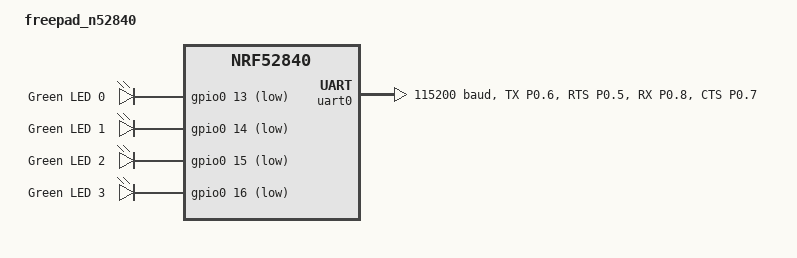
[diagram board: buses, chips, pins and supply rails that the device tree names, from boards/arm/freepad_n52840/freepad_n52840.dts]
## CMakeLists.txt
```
cmake_minimum_required(VERSION 3.20.0)
find_package(Zephyr REQUIRED HINTS $ENV{ZEPHYR_BASE})

project(freepad)
include(${ZEPHYR_BASE}/samples/subsys/usb/common/common.cmake)


include_directories(${CMAKE_SOURCE_DIR}/src)
include_directories(${CMAKE_SOURCE_DIR}/common)
include_directories(${CMAKE_SOURCE_DIR}/common/clib/inc)
include_directories(${CMAKE_SOURCE_DIR}/common/mmlib/inc)

FILE(GLOB app_sources src/*.c)
FILE(GLOB clib_sources common/clib/src/*.c)

set(mmlib_sources common/mmlib/src/sgp_protocol.c common/mmlib/src/systime.c common/mmlib/src/crc.c)

set(SOURCES
	${app_sources}
	${clib_sources}
	${mmlib_sources}
)

target_sources(app PRIVATE ${SOURCES})
```

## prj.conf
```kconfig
CONFIG_CONSOLE_SUBSYS=y
CONFIG_CONSOLE_GETCHAR=y
CONFIG_CONSOLE_GETCHAR_BUFSIZE=64
CONFIG_CONSOLE_PUTCHAR_BUFSIZE=512

CONFIG_USB_DEVICE_STACK=y
CONFIG_USB_DEVICE_PRODUCT="Freepad DFU"
CONFIG_USB_DEVICE_PID=0x0001
CONFIG_LOG=y
CONFIG_USB_DRIVER_LOG_LEVEL_ERR=y
CONFIG_USB_DEVICE_LOG_LEVEL_ERR=y
CONFIG_SERIAL=y
CONFIG_UART_INTERRUPT_DRIVEN=y
CONFIG_UART_LINE_CTRL=y
CONFIG_USB_DEVICE_INITIALIZE_AT_BOOT=n

CONFIG_THREAD_NAME=y
CONFIG_THREAD_MAX_NAME_LEN=20

CONFIG_GPIO=y

CONFIG_USE_DT_CODE_PARTITION=y

CONFIG_FLASH=y
CONFIG_MPU_ALLOW_FLASH_WRITE=y
CONFIG_SOC_FLASH_NRF_EMULATE_ONE_BYTE_WRITE_ACCESS=y

CONFIG_NRF_SECURITY=y
CONFIG_MBEDTLS_PSA_CRYPTO_C=y
CONFIG_MBEDTLS_ENABLE_HEAP=y
CONFIG_MBEDTLS_HEAP_SIZE=40960

CONFIG_PSA_WANT_ALG_ECDSA=y
CONFIG_PSA_WANT_ECC_SECP_K1_256=y
CONFIG_PSA_WANT_ALG_SHA_256=y
CONFIG_PSA_WANT_KEY_TYPE_ECC_KEY_PAIR_IMPORT=y

CONFIG_PSA_CRYPTO_DRIVER_OBERON=n
CONFIG_PSA_CRYPTO_DRIVER_CC3XX=y

CONFIG_DEBUG_OPTIMIZATIONS=y
```

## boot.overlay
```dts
// To get started, press Ctrl+Space to bring up the completion menu and view the available nodes.

// You can also use the buttons in the sidebar to perform actions on nodes.
// Actions currently available include:

// * Enabling / disabling the node
// * Adding the bus to a bus
// * Removing the node
// * Connecting ADC channels

// For more help, browse the DeviceTree documentation at https: //docs.zephyrproject.org/latest/guides/dts/index.html
// You can also visit the nRF DeviceTree extension documentation at https: //docs.nordicsemi.com/bundle/nrf-connect-vscode/page/guides/ncs_configure_app.html#devicetree-support-in-the-extension


&usbd {
    status = "okay";
    cdc_acm_uart0 {
        compatible = "zephyr,cdc-acm-uart";
    };
};

/{
    chosen{
        zephyr,code-partition = &boot_partition;
    };
};
```

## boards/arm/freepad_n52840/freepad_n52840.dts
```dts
// Copyright (c) 2024 Nordic Semiconductor ASA
// SPDX-License-Identifier: Apache-2.0

/dts-v1/;
#include <nordic/nrf52840_qiaa.dtsi>

/ {
	model = "freepad_n52840";
	compatible = "lyj,freepad-n52840";

	chosen {
		zephyr,console = &uart0;
		zephyr,sram = &sram0;
		zephyr,flash = &flash0;
	};

	leds {
		compatible = "gpio-leds";
		led0: led_0 {
			gpios = <&gpio0 13 GPIO_ACTIVE_LOW>;
			label = "Green LED 0";
		};
		led1: led_1 {
			gpios = <&gpio0 14 GPIO_ACTIVE_LOW>;
			label = "Green LED 1";
		};
		led2: led_2 {
			gpios = <&gpio0 15 GPIO_ACTIVE_LOW>;
			label = "Green LED 2";
		};
		led3: led_3 {
			gpios = <&gpio0 16 GPIO_ACTIVE_LOW>;
			label = "Green LED 3";
		};
	};


	aliases {
		led0 = &led0;
	};
};


&flash0 {
	partitions {
		compatible = "fixed-partitions";
		#address-cells = <1>;
		#size-cells = <1>;

		boot_partition: partition@0 {
			label = "lboot";
			reg = <0x0 0x28000>;
		};
		app_partition: partition@28000 {
			label = "image-0";
			reg = <0x28000 0x4b000>;
		};
		storage_partition: partition@73000 {
			label = "storage";
			reg = <0x73000 0xD000>;
		};
	};
};

&gpio0 {
	status = "okay";
};

&gpiote {
	status = "okay";
};


&pinctrl {
	uart0_default: uart0_default {
		group1 {
			psels = <NRF_PSEL(UART_TX, 0, 6)>,
				<NRF_PSEL(UART_RTS, 0, 5)>;
		};
		group2 {
			psels = <NRF_PSEL(UART_RX, 0, 8)>,
				<NRF_PSEL(UART_CTS, 0, 7)>;
			bias-pull-up;
		};
	};

	uart0_sleep: uart0_sleep {
		group1 {
			psels = <NRF_PSEL(UART_TX, 0, 6)>,
				<NRF_PSEL(UART_RX, 0, 8)>,
				<NRF_PSEL(UART_RTS, 0, 5)>,
				<NRF_PSEL(UART_CTS, 0, 7)>;
			low-power-enable;
		};
	};
};

&uart0 {
	compatible = "nordic,nrf-uarte";
	status = "okay";
	current-speed = <115200>;
	pinctrl-0 = <&uart0_default>;
	pinctrl-1 = <&uart0_sleep>;
	pinctrl-names = "default", "sleep";
};
```

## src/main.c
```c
#include <zephyr/kernel.h>
#include <zephyr/drivers/gpio.h>

#include "usb_agent.h"

#include "flash_layout.h"
void JumpToApp(void)
{
	uint32_t address = APP_START_ADDR;

#if CONFIG_ARCH_HAS_USERSPACE
	__ASSERT(!(CONTROL_nPRIV_Msk & __get_CONTROL()),
			 "Not in Privileged mode"); // 跳转前需要在特权模式,CONFIG_USERSPACE=y使得线程在非特权模式(用户态)下跑
#endif

	// uninit_used_peripherals();

	__ISB();
	__disable_irq();
	NVIC_Type *nvic = NVIC;
	/* Disable NVIC interrupts */
	for (uint8_t i = 0; i < ARRAY_SIZE(nvic->ICER); i++)
	{
		nvic->ICER[i] = 0xFFFFFFFF;
	}
	/* Clear pending NVIC interrupts */
	for (uint8_t i = 0; i < ARRAY_SIZE(nvic->ICPR); i++)
	{
		nvic->ICPR[i] = 0xFFFFFFFF;
	}

	SysTick->CTRL = 0;

	/* Disable fault handlers used by the bootloader */
	SCB->ICSR |= SCB_ICSR_PENDSTCLR_Msk;

	/* Activate the MSP if the core is currently running with the PSP */
	if (CONTROL_SPSEL_Msk & __get_CONTROL())
	{
		__set_CONTROL(__get_CONTROL() & ~CONTROL_SPSEL_Msk);
	}

	__DSB(); /* Force Memory Write before continuing */
	__ISB(); /* Flush and refill pipeline with updated permissions */

	SCB->VTOR = address;
	uint32_t *vector_table = (uint32_t *)address;

#if defined(CONFIG_BUILTIN_STACK_GUARD) && \
	defined(CONFIG_CPU_CORTEX_M_HAS_SPLIM)
	/* Reset limit registers to avoid inflicting stack overflow on image
	 * being booted.
	 * CONFIG_BUILTIN_STACK_GUARD 线程和中断栈溢出检测
	 * CONFIG_CPU_CORTEX_M_HAS_SPLIM ARMv8-M之类的型号有SP限制寄存器,用来检测栈溢出,nrf52840为Cortex-M4,Armv7-M,不需要考虑
	 */
	__set_PSPLIM(0);
	__set_MSPLIM(0);
#endif

	/* Set MSP to the new address and clear any information from PSP */
	__set_MSP(vector_table[0]);
	__set_PSP(0);

	/* Call reset handler. */
	((void (*)(void))vector_table[1])();
	CODE_UNREACHABLE;
}

#include "hal/nrf_gpio.h"

#include "dfu_nrf52.h"
int DfuCheck(void)
{
	// todo 按键电平
	nrf_gpio_cfg_input(NRF_GPIO_PIN_MAP(0, 11), NRF_GPIO_PIN_PULLUP);

	// 这里需要延时判断,gpio寄生电容导致电压上升慢
	volatile bool dfu = true;
	for (int i = 0; i < 200; i++)
	{
		if (nrf_gpio_pin_read(NRF_GPIO_PIN_MAP(0, 11)) == 1)
		{
			dfu = false;
			break;
		}
	}

	// if (!dfu)
	if (!dfu && IsAppValid())
	{
		JumpToApp();
	}

	return 0;
}

#include "comm.h"
#include "cl_event_system.h"
#include "dfu.h"

void Thread_Dfu(void)
{
	CL_EventSysInit();

	Comm_Init();
	Dfu_Init();
	while (true)
	{
		Comm_Process();
		Dfu_Process();
	}
}

#include <zephyr/console/console.h>
#define LED0_NODE DT_ALIAS(led0)
static const struct gpio_dt_spec led = GPIO_DT_SPEC_GET(LED0_NODE, gpios);
void Thread_Blink(void)
{
	int ret;

	if (!gpio_is_ready_dt(&led))
	{
		return;
	}

	ret = gpio_pin_configure_dt(&led, GPIO_OUTPUT_ACTIVE);
	if (ret < 0)
	{
		return;
	}

	while (1)
	{
		ret = gpio_pin_toggle_dt(&led);
		if (ret < 0)
		{
			return;
		}

		k_msleep(2000);
		printk("blink");
	}
	return;
}

#define STACKSIZE 1024
K_THREAD_DEFINE(blink_id, STACKSIZE, Thread_Blink, NULL, NULL, NULL,
				1, 0, 0);

K_THREAD_DEFINE(dfu_id, 40960, Thread_Dfu, NULL, NULL, NULL,
				2, 0, 0);

SYS_INIT(DfuCheck, EARLY, 1);
```

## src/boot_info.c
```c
#include "firmware_info.h"

#define MAJOR_VER_NUMBER (0)
#define MINOR_VER_NUMBER (0)
#define PATCH_VER_NUMBER (1)

const FirmwareInfo_t bootFwInfo = {
    .verMajor = MAJOR_VER_NUMBER,
    .verMinor = MINOR_VER_NUMBER,
    .verPatch = PATCH_VER_NUMBER,

    .check = FIRMWARE_CHECK_VALUE(MAJOR_VER_NUMBER, MINOR_VER_NUMBER, PATCH_VER_NUMBER, MINOR_VER_NUMBER, PATCH_VER_NUMBER),
};

// const int testData __attribute__((at(APP_START_ADDR + 38*1024))) = 0x12345;
```

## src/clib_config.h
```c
#pragma once

#include "cl_common.h"
#include "stdio.h"

#ifdef __cplusplus
extern "C"
{
#endif

    //-------------event type------------------
    typedef enum
    {
        CL_Event_SgpRecvMsg = 0,
        CL_EventMax,
    } CL_Event_t;

//---------------log-------------------------
#include "stdio.h"
#define CL_PRINTF printf

// #define CL_LOG_LEVEL_INFO
// #define CL_LOG_LEVEL_WARN
// #define CL_LOG_LEVEL_ERROR


#ifdef __cplusplus
}
#endif
```

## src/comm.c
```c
#include "comm.h"
#include "cl_event_system.h"
#include "usb_agent.h"
#include "sgp_protocol.h"

CL_Result_t SgpAcmSendFunc(const uint8_t *buff, uint16_t count)
{
    if (SendData(buff, count) == count)
        return CL_ResSuccess;

    return CL_ResFailed;
}

void Comm_Init(void)
{
    SgpProtocol_AddChannel(SpgChannelHandle_Acm, SgpAcmSendFunc);
}

void Comm_Process(void)
{
    uint8_t buff[64];
    uint32_t recvLen = RecvData(buff, sizeof(buff));
    if (recvLen)
    {
        SgpProtocol_RecvData(SpgChannelHandle_Acm, buff, recvLen);
    }
}
```

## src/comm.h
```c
#pragma once

#include "cl_common.h"
#include "sgp_protocol.h"
#include "sgp_cmd.h"

void Comm_Init(void);
void Comm_Process(void);

static inline CL_Result_t Comm_SendMsg(SpgCmd_t cmd, SgpSubCmd_t subCmd, const uint8_t *data, uint8_t length)
{
    return SgpProtocol_SendMsg(SpgChannelHandle_Acm, (uint8_t)cmd, (uint8_t)subCmd, data, length);
}
```

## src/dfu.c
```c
#include "dfu.h"
#include "dfu_nrf52.h"
#include "flash_layout.h"
#include "cl_log.h"
#include "systime.h"
#include "cl_event_system.h"
#include "sgp_protocol.h"
#include "sgp_cmd.h"
#include "comm.h"
#include "firmware_info.h"
#include "cl_serialize.h"
#include "crc.h"
#include "string.h"
#include "sign_check.h"

static inline void ToggleLed(void)
{ //todo led style

}

extern const FirmwareInfo_t bootFwInfo;

typedef enum
{
    DfuStatus_Idle = 0,
    DfuStatus_WaitReq,
    DfuStatus_RecvFile,
    DfuStatus_CheckApp,
    DfuStatus_Jump,
    DfuStatus_Error,
} DfuStatus_t;

typedef struct
{
    DfuStatus_t status;
    uint32_t fileSize;
    uint32_t recvSize;
    uint32_t lastCommTime;
    uint16_t packCount;
} DfuContext_t;

static DfuContext_t dfuContext = {
    .status = DfuStatus_Idle,
    .fileSize = 0,
    .recvSize = 0,
    .packCount = 0,
    .lastCommTime = 0,
};

static bool OnRecvSgpMsg(void *eventArg);

static inline void SetLastCommTime(void)
{
    dfuContext.lastCommTime = GetSysTime();
}

static inline bool IsCommTimeout(void)
{
    return SysTimeSpan(dfuContext.lastCommTime) >= SYSTIME_SECOND(10);
}

static void ToIdle(void)
{
    dfuContext.status = DfuStatus_Idle;
}

static void ToWaitReq(void)
{
    dfuContext.status = DfuStatus_WaitReq;
}

static void ToRecvFile(uint32_t fileSize)
{
    dfuContext.fileSize = fileSize;
    dfuContext.recvSize = 0;
    dfuContext.packCount = 0;
    dfuContext.status = DfuStatus_RecvFile;
}

static void ToCheckApp(void)
{
    dfuContext.status = DfuStatus_CheckApp;
}

static void ToJump(void)
{
    dfuContext.status = DfuStatus_Jump;
    // HAL_FLASH_Lock(); //todo lock?
}

static void ToError(void)
{
    Comm_SendMsg(SpgCmd_Dfu, SgpSubCmd_DfuError, NULL, 0);
    dfuContext.status = DfuStatus_Error;
}

void Dfu_Init(void)
{
    CL_EventSysAddListener(OnRecvSgpMsg, CL_Event_SgpRecvMsg, 0);
    ToIdle();
}

void Dfu_Process(void)
{
    switch (dfuContext.status)
    {
    case DfuStatus_Idle:
        if (NeedDfu())
        {
            CL_LOG_INFO("need dfu, to wait dfu request");
            ToWaitReq();
        }
        else
        {
            CL_LOG_INFO("don't need dfu, to check app");
            ToCheckApp();
        }
        break;
    case DfuStatus_WaitReq:
    {
        static uint32_t lastTime = 0;
        if (SysTimeSpan(lastTime) >= 1000)
        {
            lastTime = GetSysTime();

            ToggleLed();
        }
    }
    break;
    case DfuStatus_RecvFile:
        if (IsCommTimeout())
        {
            Comm_SendMsg(SpgCmd_Dfu, SgpSubCmd_DfuError, NULL, 0);
            ToCheckApp();
        }
        break;
    case DfuStatus_CheckApp:
        if (IsAppValid())
        {
            CL_LOG_INFO("app valid, prepare to jump");
            ToJump();
        }
        else
        {
            CL_LOG_INFO("no valid app, need dfu");
            ToWaitReq();
        }
        break;
    case DfuStatus_Jump:
        UnmarkDfu();
        DelayOnSysTime(100);
        NVIC_SystemReset();
        break;
    case DfuStatus_Error:
        ToCheckApp();
        break;
    default:
        break;
    }
}

static void SendDfuReady(void)
{
    Comm_SendMsg(SpgCmd_Dfu, SgpSubCmd_DfuReady, NULL, 0);
}

static void SendDfuDataRsp(uint16_t packCount, uint8_t result)
{
    uint8_t data[3];
    CL_Uint16ToBytes(packCount, data, CL_BigEndian);
    data[2] = result;
    Comm_SendMsg(SpgCmd_Dfu, SgpSubCmd_DfuDataRsp, data, 3);
}

static void SendDfuVerifyRsp(uint8_t result)
{
    Comm_SendMsg(SpgCmd_Dfu, SgpSubCmd_DfuVerifyRsp, &result, 1);
}

static void OnRecvBootVerReq(void)
{
    uint8_t data[14];
    memcpy(data, PRODUCT_BOOT_STR, 10);
    data[10] = bootFwInfo.verMajor;
    data[11] = bootFwInfo.verMinor;
    CL_Uint16ToBytes(bootFwInfo.verPatch, data + 12, CL_BigEndian);

    Comm_SendMsg(SpgCmd_Dfu, SgpSubCmd_DfuBootVerRsp, data, sizeof(data));

    CL_LOG_INFO("send boot version");
}

static void OnRecvAppVerReq(void)
{
    //todo
    // const FirmwareInfo_t *pAppInfo = (const FirmwareInfo_t *)0x8013800;
    // uint8_t data[14];
    // memcpy(data, PRODUCT_APP_STR, 10);
    // data[10] = pAppInfo->verMajor;
    // data[11] = pAppInfo->verMinor;
    // CL_Uint16ToBytes(pAppInfo->verPatch, data + 12, CL_BigEndian);

    // Comm_SendMsg(SpgCmd_Dfu, SgpSubCmd_AppVerRsp, data, sizeof(data));

    // CL_LOG_INFO("send app version");
}

void OnRecvDfuRequest(const SgpPacket_t *pack)
{
    if (dfuContext.status == DfuStatus_WaitReq)
    {
        if (pack->length != 4)
        {
            CL_LOG_INFO("dfu req pack len error");
            return;
        }
        uint32_t fileSize = CL_BytesToUint32(pack->data, CL_BigEndian);
        if (fileSize > APP_MAX_SIZE || fileSize == 0)
        {
            CL_LOG_INFO("dfu file length error");
            return;
        }
        // HAL_FLASH_Unlock(); //todo lock?
        EraseAppSection();
        ToRecvFile(fileSize);
        SendDfuReady();
        SetLastCommTime();
    }
    else if (dfuContext.status == DfuStatus_RecvFile && dfuContext.recvSize == 0)
    {
        SendDfuReady();
        SetLastCommTime();
    }
}

static void OnRecvDfuData(const SgpPacket_t *pack)
{
    if (dfuContext.status == DfuStatus_RecvFile)
    {
        if (pack->length < 2)
            return;

        uint16_t packCount = CL_BytesToUint16(pack->data, CL_BigEndian);
        if (packCount == dfuContext.packCount)
        {
            dfuContext.packCount++;
            uint16_t bytesInPack = pack->length - 2;
            if (dfuContext.recvSize + bytesInPack > dfuContext.fileSize)
            {
                ToError();
                return;
            }

            ToggleLed();
            CL_Result_t res = WriteFlash(APP_START_ADDR + dfuContext.recvSize, pack->data + 2, bytesInPack);
            dfuContext.recvSize += bytesInPack;
            CL_LOG_INFO("dfu pack: %hu--%hu, recv size: %u", packCount, bytesInPack, dfuContext.recvSize);
            SendDfuDataRsp(packCount, res == CL_ResSuccess ? 1 : 0);
            SetLastCommTime();
        }
        else if (dfuContext.packCount == (packCount + 1) && dfuContext.packCount > 0)
        {
            CL_LOG_INFO("rsp last pack");
            SendDfuDataRsp(packCount, 1);
            SetLastCommTime();
        }
    }
}

CL_Result_t VerifyApp(const SgpPacket_t *pack)
{
    if (dfuContext.fileSize != dfuContext.recvSize)
        return CL_ResFailed;

    if (pack->length != 64)
        return CL_ResFailed;

    return SignCheck((const uint8_t *)APP_START_ADDR, dfuContext.recvSize, (const uint8_t *)pack->data, pack->length);
}

static void OnRecvDfuVerify(const SgpPacket_t *pack)
{
    if (dfuContext.status == DfuStatus_RecvFile)
    {
        if (dfuContext.fileSize != dfuContext.recvSize)
        {
            ToError();
            return;
        }

        CL_Result_t res = VerifyApp(pack);
        uint8_t rsp = 1;
        if (res == CL_ResSuccess)
        {
            SaveAppInfo(APP_START_ADDR, dfuContext.fileSize);
            CL_LOG_INFO("dfu verity ok");
        }
        else
        {
            rsp = 0;
            CL_LOG_INFO("dfu verity failed");
        }
        SendDfuVerifyRsp(rsp);
        ToCheckApp();
    }
}

static bool OnRecvSgpMsg(void *eventArg)
{
    const SgpPacket_t *pack = (const SgpPacket_t *)eventArg;
    if (pack->cmd == SpgCmd_Dfu)
    {
        switch (pack->subCmd)
        {
        case SgpSubCmd_DfuReq:
            OnRecvDfuRequest(pack);
            break;
        case SgpSubCmd_DfuData:
            OnRecvDfuData(pack);
            break;
        case SgpSubCmd_DfuVerify:
            OnRecvDfuVerify(pack);
            break;
        case SgpSubCmd_DfuBootVer:
            OnRecvBootVerReq();
            break;
        case SgpSubCmd_AppVer:
            OnRecvAppVerReq();
            break;
        }
    }

    return true;
}

void Dfu_SendTest(const char *format, ...)
{
    static char buff[128];
    va_list args;
    va_start(args, format);
    int len = vsprintf(buff, format, args);
    Comm_SendMsg((uint8_t)SpgCmd_Dfu, (uint8_t)SgpSubCmd_DfuTest, (const uint8_t*)buff, len);
}
```

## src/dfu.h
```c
#pragma once

#include "cl_common.h"

void JumpToApp(void);

void Dfu_Init(void);
void Dfu_Process(void);

void Dfu_SendTest(const char *format, ...);
```

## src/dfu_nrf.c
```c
#include <zephyr/kernel.h>
#include <zephyr/drivers/flash.h>
#include <zephyr/storage/flash_map.h>
#include "dfu_nrf.h"

#define FLASH_PAGE_SIZE   4096 //todo 从设备树获取

const struct device *flash_dev = FIXED_PARTITION_DEVICE(storage_partition);

// int NrfFlashErase(uint32_t addr, uint32_t size)
// {

// }

// int NrfFlashWrite(uint32_t addr, const uint8_t* data, uint16_t len)
// {

// }

int NrfFlashRead(uint32_t addr, uint8_t* buff, uint16_t len)
{
    return flash_read(flash_dev, addr, buff, len);
}
```

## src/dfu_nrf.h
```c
#pragma once

#include "stdint.h"

int NrfFlashRead(uint32_t addr, uint8_t* buff, uint16_t len);
```

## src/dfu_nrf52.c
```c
#include "dfu_nrf52.h"
#include <zephyr/kernel.h>
#include <zephyr/drivers/flash.h>
#include <zephyr/storage/flash_map.h>
#include "flash_layout.h"
#include "crc.h"
#include "cl_log.h"

const struct device *flash_dev = FIXED_PARTITION_DEVICE(storage_partition);

//********************************flash操作******************************************
typedef struct
{
    uint32_t size;
    uint32_t hash;
} AppInfo_t;

CL_Result_t EraseAppSection(void)
{
    return EraseFlash(APP_START_ADDR, APP_MAX_SIZE / FLASH_PAGE_SIZE);
}

CL_Result_t SaveAppInfo(uint32_t addr, uint32_t size)
{
    AppInfo_t info;
    info.size = size;
    info.hash = Ethernet_CRC32((const uint8_t *)addr, size);
    EraseFlash(DFU_APP_INFO_ADDR, 1);
    WriteFlash(DFU_APP_INFO_ADDR, (const uint8_t *)&info, sizeof(info));

    return CL_ResSuccess;
}

bool IsAppValid(void)
{
    const AppInfo_t *pInfo = (const AppInfo_t *)DFU_APP_INFO_ADDR;

    if (pInfo->size > APP_MAX_SIZE)
        return false;

    uint32_t hash = Ethernet_CRC32((const uint8_t *)APP_START_ADDR, pInfo->size);

    CL_LOG_INFO("check app, size: %u, calc %x, save: %x", pInfo->size, hash, pInfo->hash);
    return hash == pInfo->hash;
}

CL_Result_t EraseFlash(uint32_t addr, uint32_t pages)
{
    return flash_erase(flash_dev, addr, pages * FLASH_PAGE_SIZE) == 0;
}

CL_Result_t WriteFlash(uint32_t addr, const uint8_t *buff, uint32_t length)
{
    return flash_write(flash_dev, addr, buff, length) != 0;
}

bool NeedDfu(void)
{
    return true;
}

CL_Result_t UnmarkDfu(void)
{
    return CL_ResSuccess;
}
```

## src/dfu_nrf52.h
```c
#pragma once

#include "cl_common.h"
//*********************************
bool NeedDfu(void);
CL_Result_t UnmarkDfu(void);
CL_Result_t EraseAppSection(void);
CL_Result_t SaveAppInfo(uint32_t addr, uint32_t size);
CL_Result_t EraseFlash(uint32_t addr, uint32_t pages);
CL_Result_t WriteFlash(uint32_t addr, const uint8_t *buff, uint32_t length);
bool IsAppValid(void);
```

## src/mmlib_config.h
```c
#pragma once

#include "cl_common.h"

typedef enum
{
    SpgChannelHandle_Acm = 0,
    SpgChannelHandle_Max,
} SpgChannelHandle_t;


//-------------------tick from zephyr-----------------------------/
#include "zephyr/kernel.h"
#define MM_USE_DEFAULT_SYSTIME (0)

static inline uint32_t SysTimeSpan(uint32_t base)
{
    uint32_t sysTime = k_uptime_get_32();

    if (sysTime >= base)
        return sysTime - base;
    else
        return UINT32_MAX - base + sysTime + 1; 
}

static inline uint32_t GetSysTime(void)
{
    return k_uptime_get_32();
}

static inline void DelayOnSysTime(uint32_t time)
{
    k_msleep(time);
}
```

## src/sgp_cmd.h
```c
#pragma once

#include "cl_common.h"

typedef enum
{
    SpgCmd_Dfu = 0x01,
} SpgCmd_t;

typedef enum
{
    SgpSubCmd_DfuReq = 0x70,
    SgpSubCmd_DfuData = 0x71,
    SgpSubCmd_DfuVerify = 0x72,
    SgpSubCmd_DfuBootVer = 0x73,
    SgpSubCmd_AppVer = 0x74,

    SgpSubCmd_DfuReady = 0x70 | 0x80,
    SgpSubCmd_DfuDataRsp = 0x71 | 0x80,
    SgpSubCmd_DfuVerifyRsp = 0x72 | 0x80,
    SgpSubCmd_DfuBootVerRsp = 0x73 | 0x80,
    SgpSubCmd_AppVerRsp = 0x74 | 0x80,

    SgpSubCmd_DfuTest = 0x7e | 0x80,
    SgpSubCmd_DfuError = 0x7f | 0x80,
} SgpSubCmd_t;
```
